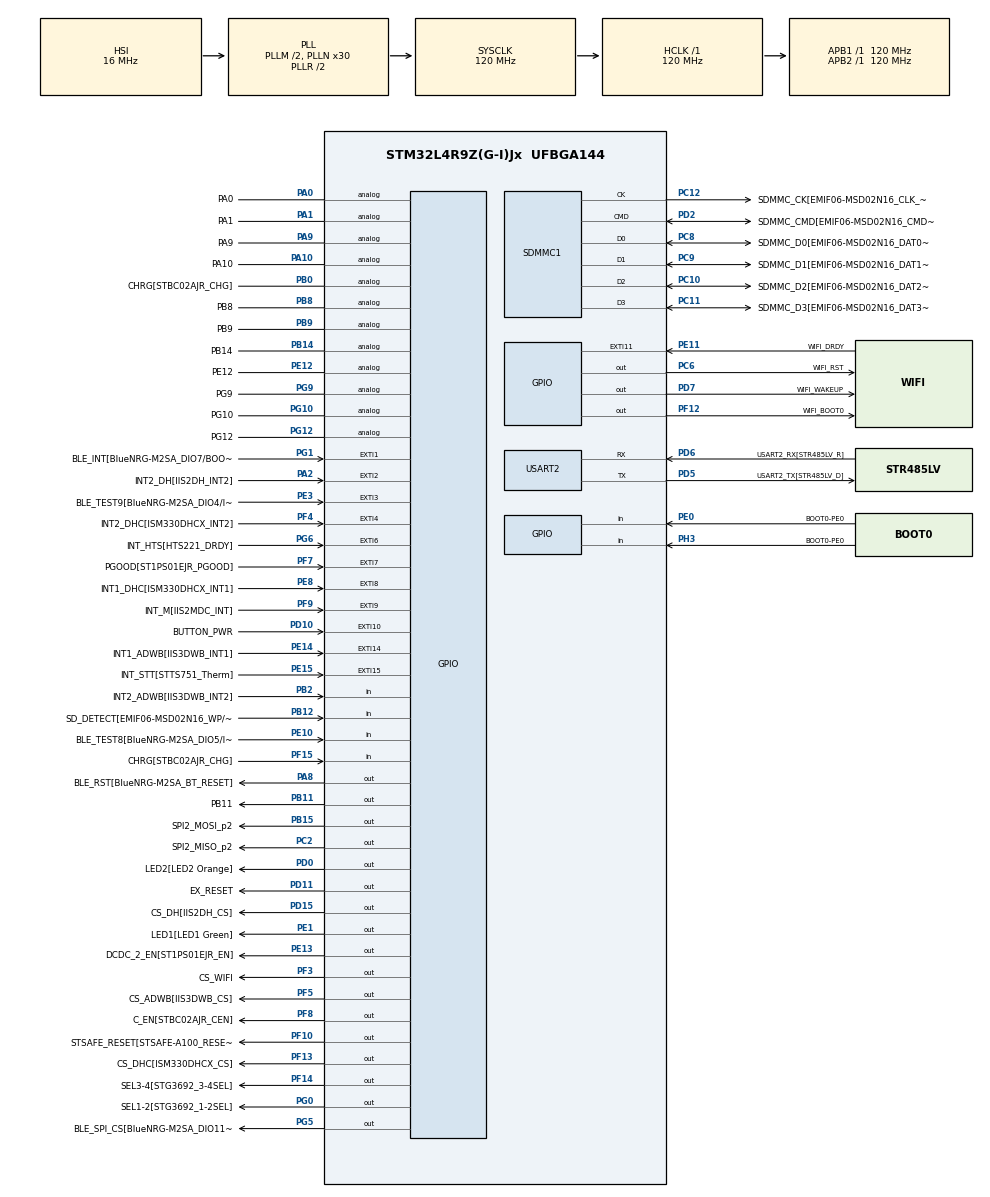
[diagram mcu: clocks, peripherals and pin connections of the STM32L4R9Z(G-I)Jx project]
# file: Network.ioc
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FATFS.BSP.number=1
FATFS0.BSP.STBoard=false
FATFS0.BSP.api=Unknown
FATFS0.BSP.instance=PB12
FATFS0.BSP.ip=GPIO
FATFS0.BSP.mode=Input
FATFS0.BSP.name=Detect_SDIO
FATFS0.BSP.solution=PB12
Mcu.Family=STM32L4
Mcu.Name=STM32L4R9Z(G-I)Jx
Mcu.Package=UFBGA144
NVIC.PriorityGroup=NVIC_PRIORITYGROUP_4
NVIC.SDMMC1_IRQn=true\:0\:0\:false\:false\:true\:true\:true\:true
NVIC.USART2_IRQn=true\:0\:0\:false\:false\:true\:true\:true\:true
PA0.GPIO_Label=PA0
PA0.Signal=GPIO_Analog
PA1.GPIO_Label=PA1
PA1.Signal=GPIO_Analog
PA10.GPIO_Label=PA10
PA10.Signal=GPIO_Analog
PA11.GPIO_Label=OTG_FS_DM[USBLC6-2P6_D2]
PA11.Signal=USB_OTG_FS_DM
PA12.GPIO_Label=OTG_FS_DP[USBLC6-2P6_D1]
PA12.Signal=USB_OTG_FS_DP
PA13\ (JTMS/SWDIO).GPIO_Label=SWDIO
PA13\ (JTMS/SWDIO).Mode=Serial_Wire
PA13\ (JTMS/SWDIO).Signal=SYS_JTMS-SWDIO
PA14\ (JTCK/SWCLK).GPIO_Label=SWDCLK
PA14\ (JTCK/SWCLK).Mode=Serial_Wire
PA14\ (JTCK/SWCLK).Signal=SYS_JTCK-SWCLK
PA15\ (JTDI).GPIO_Label=EX_PWM
PA15\ (JTDI).Signal=S_TIM2_CH1
PA2.GPIO_Label=INT2_DH[IIS2DH_INT2]
PA2.Signal=GPXTI2
PA4.GPIO_Label=DAC1_OUT1
PA4.Signal=COMP_DAC11_group
PA5.GPIO_Label=EX_ADC
PA5.Signal=ADCx_IN10
PA8.GPIO_Label=BLE_RST[BlueNRG-M2SA_BT_RESET]
PA8.Signal=GPIO_Output
PA9.GPIO_Label=PA9
PA9.Signal=GPIO_Analog
PB0.GPIO_Label=CHRG[STBC02AJR_CHG]
PB0.Signal=GPIO_Analog
PB1.GPIO_Label=USART3_RTS[STG3692_3S2]
PB1.Signal=USART3_RTS
PB10.GPIO_Label=DFSDM1_D7
PB10.GPIO_PuPd=GPIO_PULLDOWN
PB10.GPIO_Speed=GPIO_SPEED_FREQ_VERY_HIGH
PB10.Signal=S_DATAIN7DFSDM1
PB11.GPIO_Label=PB11
PB11.Signal=GPIO_Output
PB12.GPIO_Label=SD_DETECT[EMIF06-MSD02N16_WP/CD]
PB12.Signal=GPIO_Input
PB13.GPIO_Label=USART3_CTS
PB13.Signal=USART3_CTS
PB14.GPIO_Label=PB14
PB14.Signal=GPIO_Analog
PB15.GPIO_Label=SPI2_MOSI_p2
PB15.Signal=GPIO_Output
PB2.GPIO_Label=INT2_ADWB[IIS3DWB_INT2]
PB2.Signal=GPIO_Input
PB3\ (JTDO/TRACESWO).GPIO_Label=SPI3_CLK[SENSORS_SCL]
PB3\ (JTDO/TRACESWO).Signal=SPI3_SCK
PB4\ (NJTRST).GPIO_Label=SPI3_MISO[SENSORS_SDO]
PB4\ (NJTRST).Signal=SPI3_MISO
PB5.GPIO_Label=SPI3_MOSI[SENSORS_SDA]
PB5.Signal=SPI3_MOSI
PB6.GPIO_Label=DFSDM1_DATIN5[IMP34DT05_DOUT]
PB6.GPIO_PuPd=GPIO_PULLDOWN
PB6.GPIO_Speed=GPIO_SPEED_FREQ_VERY_HIGH
PB6.Signal=S_DATAIN5DFSDM1
PB8.GPIO_Label=PB8
PB8.Signal=GPIO_Analog
PB9.GPIO_Label=PB9
PB9.Signal=GPIO_Analog
PC0.GPIO_Label=ADC1_IN1[TS922EIJT_OUT2]
PC0.Signal=ADCx_IN1
PC1.GPIO_Label=ADC1_IN2[TS922EIJT_OUT1]
PC1.Signal=ADCx_IN2
PC10.GPIO_Label=SDMMC_D2[EMIF06-MSD02N16_DAT2_In]
PC10.Mode=SD_4_bits_Wide_bus
PC10.Signal=SDMMC1_D2
PC11.GPIO_Label=SDMMC_D3[EMIF06-MSD02N16_DAT3_In]
PC11.Mode=SD_4_bits_Wide_bus
PC11.Signal=SDMMC1_D3
PC12.GPIO_Label=SDMMC_CK[EMIF06-MSD02N16_CLK_In]
PC12.Mode=SD_4_bits_Wide_bus
PC12.Signal=SDMMC1_CK
PC13.GPIO_Label=RTC_TAMP1
PC13.Signal=RTC_TAMP1
PC14-OSC32_IN\ (PC14).GPIO_Label=OSC32_IN
PC14-OSC32_IN\ (PC14).Signal=RCC_OSC32_IN
PC15-OSC32_OUT\ (PC15).GPIO_Label=OSC32_OUT
PC15-OSC32_OUT\ (PC15).Signal=RCC_OSC32_OUT
PC2.GPIO_Label=SPI2_MISO_p2
PC2.Signal=GPIO_Output
PC3.GPIO_Label=SPI2_MOSI[BlueNRG-M2SA_DIO3/SPI_MOSI]
PC3.Signal=SPI2_MOSI
PC4.GPIO_Label=uC_ADC_BATT[STBC02AJR_BATMS]
PC4.Signal=ADCx_IN13
PC5.GPIO_Label=PC5/WKUP5
PC5.Signal=SYS_WKUP5
PC6.GPIO_Label=WIFI_RST
PC6.Signal=GPIO_Output
PC8.GPIO_Label=SDMMC_D0[EMIF06-MSD02N16_DAT0_In]
PC8.Mode=SD_4_bits_Wide_bus
PC8.Signal=SDMMC1_D0
PC9.GPIO_Label=SDMMC_D1[EMIF06-MSD02N16_DAT1_In]
PC9.Mode=SD_4_bits_Wide_bus
PC9.Signal=SDMMC1_D1
PD0.GPIO_Label=LED2[LED2 Orange]
PD0.Signal=GPIO_Output
PD1.GPIO_Label=SPI2_CLK[BlueNRG-M2SA_DIO0/SPI_CLK]
PD1.Signal=SPI2_SCK
PD10.GPIO_Label=BUTTON_PWR
PD10.Signal=GPXTI10
PD11.GPIO_Label=EX_RESET 
PD11.Signal=GPIO_Output
PD12.GPIO_Label=I2C4_SCL
PD12.Signal=I2C4_SCL
PD13.GPIO_Label=I2C4_SDA
PD13.Signal=I2C4_SDA
PD15.GPIO_Label=CS_DH[IIS2DH_CS]
PD15.Signal=GPIO_Output
PD2.GPIO_Label=SDMMC_CMD[EMIF06-MSD02N16_CMD_In]
PD2.Mode=SD_4_bits_Wide_bus
PD2.Signal=SDMMC1_CMD
PD3.GPIO_Label=SPI2_MISO[BlueNRG-M2SA_DIO2/SPI_MISO]
PD3.Signal=SPI2_MISO
PD4.GPIO_Label=USART2_RTS[STR485LV_DE]
PD4.Signal=USART2_RTS
PD5.GPIO_Label=USART2_TX[STR485LV_D]
PD5.Mode=Asynchronous
PD5.Signal=USART2_TX
PD6.GPIO_Label=USART2_RX[STR485LV_R]
PD6.Mode=Asynchronous
PD6.Signal=USART2_RX
PD7.GPIO_Label=WIFI_WAKEUP
PD7.Signal=GPIO_Output
PD8.GPIO_Label=USART3_TX[STG3692_1S1]
PD8.Signal=USART3_TX
PD9.GPIO_Label=USART3_RX[STG3692_2S1]
PD9.Signal=USART3_RX
PE0.GPIO_Label=BOOT0-PE0
PE0.Signal=GPIO_Input
PE1.GPIO_Label=LED1[LED1 Green]
PE1.Signal=GPIO_Output
PE10.GPIO_Label=BLE_TEST8[BlueNRG-M2SA_DIO5/I2C_SDA]
PE10.Signal=GPIO_Input
PE11.GPIO_Label=WIFI_DRDY
PE11.Signal=GPXTI11
PE12.GPIO_Label=PE12
PE12.Signal=GPIO_Analog
PE13.GPIO_Label=DCDC_2_EN[ST1PS01EJR_EN]
PE13.Signal=GPIO_Output
PE14.GPIO_Label=INT1_ADWB[IIS3DWB_INT1]
PE14.Signal=GPXTI14
PE15.GPIO_Label=INT_STT[STTS751_Therm]
PE15.Signal=GPXTI15
PE2.GPIO_Label=SAI1_MCLK_A
PE2.Signal=SAI1_MCLK_A
PE3.GPIO_Label=BLE_TEST9[BlueNRG-M2SA_DIO4/I2C_CLK]
PE3.Signal=GPXTI3
PE4.GPIO_Label=SAI1_FS_A/DFSDM_D3
PE4.Signal=SAI1_FS_A
PE5.GPIO_Label=SAI1_SCK_A
PE5.Signal=SAI1_SCK_A
PE6.GPIO_Label=SAI1_SD_A
PE6.Signal=SAI1_SD_A
PE7.GPIO_Label=SAI1_SD_B
PE7.Signal=SAI1_SD_B
PE8.GPIO_Label=INT1_DHC[ISM330DHCX_INT1]
PE8.Signal=GPXTI8
PE9.GPIO_Label=DFSDM1_CKOUT[IMP34DT05_CLK]
PE9.GPIO_PuPd=GPIO_PULLDOWN
PE9.GPIO_Speed=GPIO_SPEED_FREQ_VERY_HIGH
PE9.Signal=S_CKOUTDFSDM1
PF0.GPIO_Label=I2C2_SDA[SENSORS_SDA]
PF0.Signal=I2C2_SDA
PF1.GPIO_Label=I2C2_SDA[SENSORS_SCL]
PF1.Signal=I2C2_SCL
PF10.GPIO_Label=STSAFE_RESET[STSAFE-A100_RESET]
PF10.Signal=GPIO_Output
PF12.GPIO_Label=WIFI_BOOT0
PF12.Signal=GPIO_Output
PF13.GPIO_Label=CS_DHC[ISM330DHCX_CS]
PF13.Signal=GPIO_Output
PF14.GPIO_Label=SEL3-4[STG3692_3-4SEL]
PF14.Signal=GPIO_Output
PF15.GPIO_Label=CHRG[STBC02AJR_CHG]
PF15.Signal=GPIO_Input
PF2.GPIO_Label=I2C2_SMBA[STTS751_EV]
PF2.Signal=I2C2_SMBA
PF3.GPIO_Label=CS_WIFI
PF3.Signal=GPIO_Output
PF4.GPIO_Label=INT2_DHC[ISM330DHCX_INT2]
PF4.Signal=GPXTI4
PF5.GPIO_Label=CS_ADWB[IIS3DWB_CS]
PF5.Signal=GPIO_Output
PF6.GPIO_Label=SW_SEL[STBC02AJR_SW_SEL]
PF6.GPIO_Speed=GPIO_SPEED_FREQ_HIGH
PF6.Signal=S_TIM5_CH1
PF7.GPIO_Label=PGOOD[ST1PS01EJR_PGOOD]
PF7.Signal=GPXTI7
PF8.GPIO_Label=C_EN[STBC02AJR_CEN]
PF8.Signal=GPIO_Output
PF9.GPIO_Label=INT_M[IIS2MDC_INT]
PF9.Signal=GPXTI9
PG0.GPIO_Label=SEL1-2[STG3692_1-2SEL]
PG0.Signal=GPIO_Output
PG1.GPIO_Label=BLE_INT[BlueNRG-M2SA_DIO7/BOOT/UART_CTS]
PG1.Signal=GPXTI1
PG10.GPIO_Label=PG10
PG10.Signal=GPIO_Analog
PG12.GPIO_Label=PG12
PG12.Signal=GPIO_Analog
PG2.GPIO_Label=SPI1_CLK
PG2.Signal=SPI1_SCK
PG3.GPIO_Label=SPI1_MISO
PG3.Signal=SPI1_MISO
PG4.GPIO_Label=SPI1_MOSI
PG4.Signal=SPI1_MOSI
PG5.GPIO_Label=BLE_SPI_CS[BlueNRG-M2SA_DIO11/UART_RXD]
PG5.Signal=GPIO_Output
PG6.GPIO_Label=INT_HTS[HTS221_DRDY]
PG6.Signal=GPXTI6
PG7.GPIO_Label=I2C3_SCL[STSAFE-A110_SCL]
PG7.Signal=I2C3_SCL
PG8.GPIO_Label=I2C3_SDA[STSAFE-A110_SDA]
PG8.Signal=I2C3_SDA
PG9.GPIO_Label=PG9
PG9.Signal=GPIO_Analog
PH0-OSC_IN\ (PH0).GPIO_Label=OSC_IN
PH0-OSC_IN\ (PH0).Mode=HSE-External-Oscillator
PH0-OSC_IN\ (PH0).Signal=RCC_OSC_IN
PH1-OSC_OUT\ (PH1).GPIO_Label=OSC_OUT
PH1-OSC_OUT\ (PH1).Mode=HSE-External-Oscillator
PH1-OSC_OUT\ (PH1).Signal=RCC_OSC_OUT
PH3-BOOT0.GPIO_Label=BOOT0-PE0
PH3-BOOT0.Signal=GPIO_Input
ProjectManager.HeapSize=0x800
ProjectManager.StackSize=0x800
ProjectManager.TargetToolchain=STM32CubeIDE
RCC.ADCFreq_Value=76800000
RCC.AHBFreq_Value=120000000
RCC.APB1Freq_Value=120000000
RCC.APB1TimFreq_Value=120000000
RCC.APB2Freq_Value=120000000
RCC.APB2TimFreq_Value=120000000
RCC.CK48CLockSelection=RCC_USBCLKSOURCE_HSI48
RCC.CortexFreq_Value=120000000
RCC.DSITX_Div=1
RCC.HCLKFreq_Value=120000000
RCC.HSE_VALUE=16000000
RCC.HSI48_VALUE=48000000
RCC.HSI_VALUE=16000000
RCC.LSE_VALUE=32768
RCC.MSI_VALUE=4000000
RCC.PLLDSIODF=DSI_PLL_OUT_DIV2
RCC.PLLM1=2
RCC.PLLM2=5
RCC.PLLM3=2
RCC.PLLN=30
RCC.PLLSAI1N=96
RCC.PLLSAI1P=RCC_PLLP_DIV25
RCC.PLLSAI1Q=RCC_PLLQ_DIV4
RCC.PLLSAI1R=RCC_PLLR_DIV4
RCC.PLLSourceVirtual=RCC_PLLSOURCE_HSI
RCC.RTCClockSelection=RCC_RTCCLKSOURCE_LSE
RCC.SDMMCClockSelection=RCC_SDIOCLKSOURCE_CLK48
RCC.SYSCLKFreq_VALUE=120000000
RCC.SYSCLKSource=RCC_SYSCLKSOURCE_PLLCLK
RCC.USBFreq_Value=48000000
RCC.VCOOutputFreq_Value=240000000
SH.ADCx_IN1.0=ADC1_IN1
SH.ADCx_IN10.0=ADC1_IN10
SH.ADCx_IN13.0=ADC1_IN13
SH.ADCx_IN2.0=ADC1_IN2
SH.COMP_DAC11_group.0=DAC1_OUT1
SH.S_CKOUTDFSDM1.0=DFSDM1_CKOUT
SH.S_DATAIN5DFSDM1.0=DFSDM1_DATIN5
SH.S_DATAIN7DFSDM1.0=DFSDM1_DATIN7
SH.S_TIM2_CH1.0=TIM2_CH1
SH.S_TIM5_CH1.0=TIM5_CH1
STMicroelectronics.X-CUBE-AI.10.0.0.ActivationBufferSizeList=2324
STMicroelectronics.X-CUBE-AI.10.0.0.ActivationBuffers=pool0
STMicroelectronics.X-CUBE-AI.10.0.0.ActivationNames=pool0
STMicroelectronics.X-CUBE-AI.10.0.0.ActivationSizes=AI_NETWORK_DATA_ACTIVATION_1_SIZE
STMicroelectronics.X-CUBE-AI.10.0.0.HeapSize=0x800
STMicroelectronics.X-CUBE-AI.10.0.0.InternalRamActivationBufferMaxSize=AI_NETWORK_DATA_ACTIVATIONS_SIZE
STMicroelectronics.X-CUBE-AI.10.0.0.LatestDirectoryUsed-07491b061f2f6b5cf205d76758b68900ebc381ad5fb858a478a9d888b9210f91=C\:\\Users\\enric\\OneDrive\\Desktop\\reti_neurali
STMicroelectronics.X-CUBE-AI.10.0.0.MaximumNumberOfInputLayer=1
STMicroelectronics.X-CUBE-AI.10.0.0.MaximumNumberOfOutputLayer=1
STMicroelectronics.X-CUBE-AI.10.0.0.MaximumSizeOfInputLayer=1
STMicroelectronics.X-CUBE-AI.10.0.0.MaximumSizeOfOutputLayer=1
STMicroelectronics.X-CUBE-AI.10.0.0.ModelActualCompression-07491b061f2f6b5cf205d76758b68900ebc381ad5fb858a478a9d888b9210f91=0.0
STMicroelectronics.X-CUBE-AI.10.0.0.ModelCompression-07491b061f2f6b5cf205d76758b68900ebc381ad5fb858a478a9d888b9210f91=None
STMicroelectronics.X-CUBE-AI.10.0.0.ModelFlashOccupation-07491b061f2f6b5cf205d76758b68900ebc381ad5fb858a478a9d888b9210f91=27286
STMicroelectronics.X-CUBE-AI.10.0.0.ModelHashList=07491b061f2f6b5cf205d76758b68900ebc381ad5fb858a478a9d888b9210f91
STMicroelectronics.X-CUBE-AI.10.0.0.ModelKind-07491b061f2f6b5cf205d76758b68900ebc381ad5fb858a478a9d888b9210f91=ONNX
STMicroelectronics.X-CUBE-AI.10.0.0.ModelMacc-07491b061f2f6b5cf205d76758b68900ebc381ad5fb858a478a9d888b9210f91=4738
STMicroelectronics.X-CUBE-AI.10.0.0.ModelName-07491b061f2f6b5cf205d76758b68900ebc381ad5fb858a478a9d888b9210f91=network
STMicroelectronics.X-CUBE-AI.10.0.0.ModelNameList=network
STMicroelectronics.X-CUBE-AI.10.0.0.ModelRamOccupation-07491b061f2f6b5cf205d76758b68900ebc381ad5fb858a478a9d888b9210f91=2324
STMicroelectronics.X-CUBE-AI.10.0.0.ModelStructureFile-07491b061f2f6b5cf205d76758b68900ebc381ad5fb858a478a9d888b9210f91=C\:\\Users\\enric\\OneDrive\\Desktop\\reti_neurali\\my_model_MLP.onnx
STMicroelectronics.X-CUBE-AI.10.0.0.ModelType-07491b061f2f6b5cf205d76758b68900ebc381ad5fb858a478a9d888b9210f91=STM32Cube.AI MCU runtime
STMicroelectronics.X-CUBE-AI.10.0.0.ReadyForCodeGeneration=true
STMicroelectronics.X-CUBE-AI.10.0.0.StackSize=0x800
STMicroelectronics.X-CUBE-AI.10.0.0.ValidationInputFile-07491b061f2f6b5cf205d76758b68900ebc381ad5fb858a478a9d888b9210f91=C\:\\Users\\enric\\OneDrive\\Desktop\\Validation\\validation_input.csv
STMicroelectronics.X-CUBE-AI.10.0.0.ValidationInputFileHistory-07491b061f2f6b5cf205d76758b68900ebc381ad5fb858a478a9d888b9210f91=C\:\\Users\\enric\\OneDrive\\Desktop\\Validation\\validation_input.csv
STMicroelectronics.X-CUBE-AI.10.0.0.ValidationOutputFile-07491b061f2f6b5cf205d76758b68900ebc381ad5fb858a478a9d888b9210f91=C\:\\Users\\enric\\OneDrive\\Desktop\\Validation\\validation_output.csv
STMicroelectronics.X-CUBE-AI.10.0.0.ValidationOutputFileHistory-07491b061f2f6b5cf205d76758b68900ebc381ad5fb858a478a9d888b9210f91=C\:\\Users\\enric\\OneDrive\\Desktop\\Validation\\validation_output.csv
STMicroelectronics.X-CUBE-AI.10.0.0.WorkingBufferStartAddrList=0xFFFFFFFF
STMicroelectronics.X-CUBE-AI.10.0.0.XAaCUBEAaAICcArtificialOoIntelligenceJjCore=true
STMicroelectronics.X-CUBE-AI.10.0.0.copyWeightToRam=false
STMicroelectronics.X-CUBE-AI.10.0.0.copyWeightToRam-07491b061f2f6b5cf205d76758b68900ebc381ad5fb858a478a9d888b9210f91=false
STMicroelectronics.X-CUBE-AI.10.0.0.customLayerConfigEnabled=false
STMicroelectronics.X-CUBE-AI.10.0.0.customLayerConfigEnabled-07491b061f2f6b5cf205d76758b68900ebc381ad5fb858a478a9d888b9210f91=false
STMicroelectronics.X-CUBE-AI.10.0.0.noOnnxIoTranspose=false
STMicroelectronics.X-CUBE-AI.10.0.0.noOnnxIoTranspose-07491b061f2f6b5cf205d76758b68900ebc381ad5fb858a478a9d888b9210f91=false
STMicroelectronics.X-CUBE-AI.10.0.0.useInputAllocation=true
STMicroelectronics.X-CUBE-AI.10.0.0.useInputAllocation-07491b061f2f6b5cf205d76758b68900ebc381ad5fb858a478a9d888b9210f91=true
STMicroelectronics.X-CUBE-AI.10.0.0.useOutputAllocation=true
STMicroelectronics.X-CUBE-AI.10.0.0.useOutputAllocation-07491b061f2f6b5cf205d76758b68900ebc381ad5fb858a478a9d888b9210f91=true
TIM1.Prescaler=120
USART2.VirtualMode-Asynchronous=VM_ASYNC
VP_CRC_VS_CRC.Mode=CRC_Activate
VP_FATFS_VS_SDIO.Mode=SDIO
VP_STMicroelectronics.X-CUBE-AI_VS_ArtificialOoIntelligenceJjXAaCUBEAaAI_10.0.0.Mode=ArtificialOoIntelligenceJjXAaCUBEAaAI
VP_TIM1_VS_ClockSourceINT.Mode=Internal
board=STEVAL-STWINKT1B

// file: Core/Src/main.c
/* USER CODE BEGIN Header */
/**
  ******************************************************************************
  * @file           : main.c
  * @brief          : Main program body
  ******************************************************************************
  * @attention
  *
  * Copyright (c) 2025 STMicroelectronics.
  * All rights reserved.
  *
  * This software is licensed under terms that can be found in the LICENSE file
  * in the root directory of this software component.
  * If no LICENSE file comes with this software, it is provided AS-IS.
  *
  ******************************************************************************
  */
/* USER CODE END Header */
#include "main.h"
#include "fatfs.h"

/* USER CODE BEGIN Includes */

#include "network.h"
#include "network_data.h"
#include "ai_platform.h"
#include <stdio.h>
#include <stdint.h>
#include <stdlib.h>
#include <inttypes.h>
#include <string.h>
#include <math.h>

/* USER CODE END Includes */

/* USER CODE BEGIN PD */

#define F_OUT "output.bin" //file in cui vengono salvati gli output della rete
#define F_REPORT "report.txt" //file per riportare i tempi di inferenza
#define F_INPUT "input.bin" //file contenente il vettore di input

typedef ai_float IN_TYPE;

/* USER CODE END PD */

CRC_HandleTypeDef hcrc;

SD_HandleTypeDef hsd1;

TIM_HandleTypeDef htim1;

UART_HandleTypeDef huart2;

/* USER CODE BEGIN PV */

// utilizzo struttura FIL di FATFS per gestire i file
FIL file_out;
FIL file_in;
FIL f_report;
char buffer[80];

/* USER CODE END PV */

void SystemClock_Config(void);
static void MX_GPIO_Init(void);
static void MX_CRC_Init(void);
static void MX_SDMMC1_SD_Init(void);
static void MX_TIM1_Init(void);
static void MX_USART2_UART_Init(void);
/* USER CODE BEGIN PFP */

int ai_run(const void*, void*);
int ai_init(void);
int network_run(IN_TYPE* in_data, IN_TYPE* out_data, IN_TYPE* ingresso); //chiama f. inferenze e gestisce output
void set_input_data(IN_TYPE* in_data, int k, IN_TYPE* ingresso); //per riempire ingressi rete
int process_output(IN_TYPE* out_data);
FRESULT read_from_sd(long int, ai_float*, int);
void write_to_sd(int);
void write_report(char*, int);

/* USER CODE END PFP */

/* USER CODE BEGIN 0 */

//inizializzazione istanza della rete neurale
static ai_handle network = AI_HANDLE_NULL;

/* Array per gestire il buffer delle attivazioni */
AI_ALIGNED(32)
static ai_u8 activations[AI_NETWORK_DATA_ACTIVATIONS_SIZE];

/* Array per gestire il tensore di input */
AI_ALIGNED(32)
static IN_TYPE in_data[AI_NETWORK_IN_1_SIZE];

/* Array per gestire il tensore di output */
AI_ALIGNED(32)
static IN_TYPE out_data[AI_NETWORK_OUT_1_SIZE];

/*Array di puntatori per gestire i tensori di input/output */
static ai_buffer *ai_input;
static ai_buffer *ai_output;

/* USER CODE END 0 */

int main(void)
{

  /* MCU Configuration--------------------------------------------------------*/

  /* Reset of all peripherals, Initializes the Flash interface and the Systick. */
  HAL_Init();

  /* Configure the system clock */
  SystemClock_Config();

  /* Initialize all configured peripherals */
  MX_GPIO_Init();
  MX_CRC_Init();
  MX_SDMMC1_SD_Init();
  MX_TIM1_Init();
  MX_USART2_UART_Init();
  MX_FATFS_Init();
  /* USER CODE BEGIN 2 */

  //creo un instanza della rete  e degli opportuni buffer per ingressi e uscite
  if (ai_init() != 0)
     	  {
     		  Error_Handler();
     	  }
  FRESULT res = FR_OK;

  //monto la scheda SD
  res = f_mount(&SDFatFS, (TCHAR const*)SDPath, 0);
      if(res != FR_OK)
      {
       	  	   	Error_Handler();
      }

   strcpy (buffer, "Rete neurale: ");
   write_report (buffer, strlen(buffer));

   int string_len = strlen(AI_NETWORK_ORIGIN_MODEL_NAME);
   write_report(AI_NETWORK_ORIGIN_MODEL_NAME, string_len);

   res = f_open(&file_in, F_INPUT, FA_READ);
   if(res != FR_OK)
   {
   Error_Handler();
   }
   //salvo la dimensione dell'intero file di input
   long int file_length = f_size(&file_in);
   res = f_close(&file_in);
   if(res != FR_OK)
   {
   Error_Handler();
   }

   //calcolo il numero di valori (float32) contenuti nel file di input
   long int n_valori = file_length / sizeof(ai_float);

   //dimensione di ogni blocco in cui suddivido il file input da leggere
   long int size_blocco = 10000;

   //numero di blocchi in cui suddivido il file input
   int b_max = n_valori / size_blocco;
   int blocco_attuale = 0;

   ai_float* ingresso;

   strcpy (buffer, "\nCalcolo tempi per ogni inferenza:\n");
   string_len = strlen(buffer);
   write_report(buffer, string_len);

   while(blocco_attuale < b_max)
   {
	   //vado ad allocare lo spazio per un blocco, sul quale farò le inferenze
	   ingresso = malloc(sizeof(ai_float) * size_blocco);

	   //il blocco di valori è letto dal file di input nella scheda SD
	   //mi posiziono nel punto opportuno definito da blocco_attuale
	   res = read_from_sd(size_blocco, ingresso, blocco_attuale);
	    	  if(res != FR_OK)
	    	  {
	       	    	  Error_Handler();
	    	  }

	   //ciclo su tutto il blocco corrente
	   //attenzione: bisogna passare alla rete 4 valori alla volta
	   //senza sovrapposizioni e senza perdere dati

	   int k = 0; //indice del valore letto
	   while (k < size_blocco)
	   {

		   set_input_data(in_data, k, ingresso);

		   if (network_run(in_data, out_data, ingresso) != 0)
		    			  Error_Handler();

		   //scorro al prossimo array di ingresso per la rete
		   k = k + AI_NETWORK_IN_1_SIZE;

	   }

	   free(ingresso); //libero lo spazio di memoria allocato per questo blocco terminato
	   blocco_attuale++; //passo al blocco successivo

   }

   //se sono arrivato all'ultimo blocco, che contiene meno valori della dimensione predefinita
   //oppure l'intero file di input è più piccolo della dimensione predefinita
   if(((blocco_attuale) == b_max)||(b_max == 0))
   {
	   n_valori = n_valori - (b_max * size_blocco);
	   ingresso = malloc(sizeof(ai_float)* n_valori);
	   res = read_from_sd(n_valori, ingresso, blocco_attuale);
	   if(res != FR_OK)
	   	  {
	   		  Error_Handler();
	   	  }
	   int k = 0; //indice del valore di partenza dell'array letto
	   while (k < size_blocco)
	   {
	   		if (network_run(in_data, out_data, ingresso) != 0)
	   		    			  Error_Handler();

	   		//scorro al prossimo array di ingresso per la rete
	   		k = k + AI_NETWORK_IN_1_SIZE;
       }

	   free(ingresso);

   }

   strcpy (buffer,"\nFine\n");
   string_len = strlen(buffer);
   write_report(buffer, string_len);

   f_mount(&SDFatFS, (TCHAR const*)NULL, 0);

  /* USER CODE END 2 */

  /* Infinite loop */
  while (1)
  {

  }
}

void SystemClock_Config(void)
{
  RCC_OscInitTypeDef RCC_OscInitStruct = {0};
  RCC_ClkInitTypeDef RCC_ClkInitStruct = {0};

  /** Configure the main internal regulator output voltage
  */
  if (HAL_PWREx_ControlVoltageScaling(PWR_REGULATOR_VOLTAGE_SCALE1_BOOST) != HAL_OK)
  {
    Error_Handler();
  }

  /** Initializes the RCC Oscillators according to the specified parameters
  * in the RCC_OscInitTypeDef structure.
  */
  RCC_OscInitStruct.OscillatorType = RCC_OSCILLATORTYPE_HSI48|RCC_OSCILLATORTYPE_HSI;
  RCC_OscInitStruct.HSIState = RCC_HSI_ON;
  RCC_OscInitStruct.HSI48State = RCC_HSI48_ON;
  RCC_OscInitStruct.HSICalibrationValue = RCC_HSICALIBRATION_DEFAULT;
  RCC_OscInitStruct.PLL.PLLState = RCC_PLL_ON;
  RCC_OscInitStruct.PLL.PLLSource = RCC_PLLSOURCE_HSI;
  RCC_OscInitStruct.PLL.PLLM = 2;
  RCC_OscInitStruct.PLL.PLLN = 30;
  RCC_OscInitStruct.PLL.PLLP = RCC_PLLP_DIV2;
  RCC_OscInitStruct.PLL.PLLQ = RCC_PLLQ_DIV2;
  RCC_OscInitStruct.PLL.PLLR = RCC_PLLR_DIV2;
  if (HAL_RCC_OscConfig(&RCC_OscInitStruct) != HAL_OK)
  {
    Error_Handler();
  }

  /** Initializes the CPU, AHB and APB buses clocks
  */
  RCC_ClkInitStruct.ClockType = RCC_CLOCKTYPE_HCLK|RCC_CLOCKTYPE_SYSCLK
                              |RCC_CLOCKTYPE_PCLK1|RCC_CLOCKTYPE_PCLK2;
  RCC_ClkInitStruct.SYSCLKSource = RCC_SYSCLKSOURCE_PLLCLK;
  RCC_ClkInitStruct.AHBCLKDivider = RCC_SYSCLK_DIV1;
  RCC_ClkInitStruct.APB1CLKDivider = RCC_HCLK_DIV1;
  RCC_ClkInitStruct.APB2CLKDivider = RCC_HCLK_DIV1;

  if (HAL_RCC_ClockConfig(&RCC_ClkInitStruct, FLASH_LATENCY_5) != HAL_OK)
  {
    Error_Handler();
  }
}

static void MX_CRC_Init(void)
{

  hcrc.Instance = CRC;
  hcrc.Init.DefaultPolynomialUse = DEFAULT_POLYNOMIAL_ENABLE;
  hcrc.Init.DefaultInitValueUse = DEFAULT_INIT_VALUE_ENABLE;
  hcrc.Init.InputDataInversionMode = CRC_INPUTDATA_INVERSION_NONE;
  hcrc.Init.OutputDataInversionMode = CRC_OUTPUTDATA_INVERSION_DISABLE;
  hcrc.InputDataFormat = CRC_INPUTDATA_FORMAT_BYTES;
  if (HAL_CRC_Init(&hcrc) != HAL_OK)
  {
    Error_Handler();
  }

}

static void MX_SDMMC1_SD_Init(void)
{

  hsd1.Instance = SDMMC1;
  hsd1.Init.ClockEdge = SDMMC_CLOCK_EDGE_RISING;
  hsd1.Init.ClockPowerSave = SDMMC_CLOCK_POWER_SAVE_DISABLE;
  hsd1.Init.BusWide = SDMMC_BUS_WIDE_4B;
  hsd1.Init.HardwareFlowControl = SDMMC_HARDWARE_FLOW_CONTROL_DISABLE;
  hsd1.Init.ClockDiv = 0;
  hsd1.Init.Transceiver = SDMMC_TRANSCEIVER_DISABLE;

}

static void MX_TIM1_Init(void)
{

  TIM_ClockConfigTypeDef sClockSourceConfig = {0};
  TIM_MasterConfigTypeDef sMasterConfig = {0};

  htim1.Instance = TIM1;
  htim1.Init.Prescaler = 120;
  htim1.Init.CounterMode = TIM_COUNTERMODE_UP;
  htim1.Init.Period = 65535;
  htim1.Init.ClockDivision = TIM_CLOCKDIVISION_DIV1;
  htim1.Init.RepetitionCounter = 0;
  htim1.Init.AutoReloadPreload = TIM_AUTORELOAD_PRELOAD_DISABLE;
  if (HAL_TIM_Base_Init(&htim1) != HAL_OK)
  {
    Error_Handler();
  }
  sClockSourceConfig.ClockSource = TIM_CLOCKSOURCE_INTERNAL;
  if (HAL_TIM_ConfigClockSource(&htim1, &sClockSourceConfig) != HAL_OK)
  {
    Error_Handler();
  }
  sMasterConfig.MasterOutputTrigger = TIM_TRGO_RESET;
  sMasterConfig.MasterOutputTrigger2 = TIM_TRGO2_RESET;
  sMasterConfig.MasterSlaveMode = TIM_MASTERSLAVEMODE_DISABLE;
  if (HAL_TIMEx_MasterConfigSynchronization(&htim1, &sMasterConfig) != HAL_OK)
  {
    Error_Handler();
  }

}

static void MX_USART2_UART_Init(void)
{

  huart2.Instance = USART2;
  huart2.Init.BaudRate = 115200;
  huart2.Init.WordLength = UART_WORDLENGTH_8B;
  huart2.Init.StopBits = UART_STOPBITS_1;
  huart2.Init.Parity = UART_PARITY_NONE;
  huart2.Init.Mode = UART_MODE_TX_RX;
  huart2.Init.HwFlowCtl = UART_HWCONTROL_NONE;
  huart2.Init.OverSampling = UART_OVERSAMPLING_16;
  huart2.Init.OneBitSampling = UART_ONE_BIT_SAMPLE_DISABLE;
  huart2.Init.ClockPrescaler = UART_PRESCALER_DIV1;
  huart2.AdvancedInit.AdvFeatureInit = UART_ADVFEATURE_NO_INIT;
  if (HAL_UART_Init(&huart2) != HAL_OK)
  {
    Error_Handler();
  }
  if (HAL_UARTEx_SetTxFifoThreshold(&huart2, UART_TXFIFO_THRESHOLD_1_8) != HAL_OK)
  {
    Error_Handler();
  }
  if (HAL_UARTEx_SetRxFifoThreshold(&huart2, UART_RXFIFO_THRESHOLD_1_8) != HAL_OK)
  {
    Error_Handler();
  }
  if (HAL_UARTEx_DisableFifoMode(&huart2) != HAL_OK)
  {
    Error_Handler();
  }

}

static void MX_GPIO_Init(void)
{
  GPIO_InitTypeDef GPIO_InitStruct = {0};

  /* GPIO Ports Clock Enable */
  __HAL_RCC_GPIOE_CLK_ENABLE();
  __HAL_RCC_GPIOB_CLK_ENABLE();
  __HAL_RCC_GPIOH_CLK_ENABLE();
  __HAL_RCC_GPIOD_CLK_ENABLE();
  __HAL_RCC_GPIOC_CLK_ENABLE();
  __HAL_RCC_GPIOA_CLK_ENABLE();
  __HAL_RCC_GPIOG_CLK_ENABLE();
  HAL_PWREx_EnableVddIO2();
  __HAL_RCC_GPIOF_CLK_ENABLE();

  /*Configure GPIO pin Output Level */
  HAL_GPIO_WritePin(GPIOE, LED1_Pin|DCDC_2_EN_Pin, GPIO_PIN_RESET);

  /*Configure GPIO pin Output Level */
  HAL_GPIO_WritePin(GPIOD, LED2_Pin|WIFI_WAKEUP_Pin|CS_DH_Pin|EX_RESET_Pin, GPIO_PIN_RESET);

  /*Configure GPIO pin Output Level */
  HAL_GPIO_WritePin(BLE_RST_GPIO_Port, BLE_RST_Pin, GPIO_PIN_RESET);

  /*Configure GPIO pin Output Level */
  HAL_GPIO_WritePin(GPIOC, WIFI_RST_Pin|SPI2_MISO_p2_Pin, GPIO_PIN_RESET);

  /*Configure GPIO pin Output Level */
  HAL_GPIO_WritePin(GPIOF, CS_WIFI_Pin|C_EN_Pin|CS_ADWB_Pin|STSAFE_RESET_Pin
                          |WIFI_BOOT0_Pin|CS_DHC_Pin|SEL3_4_Pin, GPIO_PIN_RESET);

  /*Configure GPIO pin Output Level */
  HAL_GPIO_WritePin(GPIOG, BLE_SPI_CS_Pin|SEL1_2_Pin, GPIO_PIN_RESET);

  /*Configure GPIO pin Output Level */
  HAL_GPIO_WritePin(GPIOB, SPI2_MOSI_p2_Pin|PB11_Pin, GPIO_PIN_RESET);

  /*Configure GPIO pins : BOOT0_PE0_Pin BLE_TEST8_Pin */
  GPIO_InitStruct.Pin = BOOT0_PE0_Pin|BLE_TEST8_Pin;
  GPIO_InitStruct.Mode = GPIO_MODE_INPUT;
  GPIO_InitStruct.Pull = GPIO_NOPULL;
  HAL_GPIO_Init(GPIOE, &GPIO_InitStruct);

  /*Configure GPIO pins : PB9_Pin PB8_Pin PB14_Pin CHRGB0_Pin */
  GPIO_InitStruct.Pin = PB9_Pin|PB8_Pin|PB14_Pin|CHRGB0_Pin;
  GPIO_InitStruct.Mode = GPIO_MODE_ANALOG;
  GPIO_InitStruct.Pull = GPIO_NOPULL;
  HAL_GPIO_Init(GPIOB, &GPIO_InitStruct);

  /*Configure GPIO pin : BOOT0_PE0H3_Pin */
  GPIO_InitStruct.Pin = BOOT0_PE0H3_Pin;
  GPIO_InitStruct.Mode = GPIO_MODE_INPUT;
  GPIO_InitStruct.Pull = GPIO_NOPULL;
  HAL_GPIO_Init(BOOT0_PE0H3_GPIO_Port, &GPIO_InitStruct);

  /*Configure GPIO pins : SPI3_MISO_Pin SPI3_MOSI_Pin SPI3_CLK_Pin */
  GPIO_InitStruct.Pin = SPI3_MISO_Pin|SPI3_MOSI_Pin|SPI3_CLK_Pin;
  GPIO_InitStruct.Mode = GPIO_MODE_AF_PP;
  GPIO_InitStruct.Pull = GPIO_NOPULL;
  GPIO_InitStruct.Speed = GPIO_SPEED_FREQ_VERY_HIGH;
  GPIO_InitStruct.Alternate = GPIO_AF6_SPI3;
  HAL_GPIO_Init(GPIOB, &GPIO_InitStruct);

  /*Configure GPIO pins : SPI2_MISO_Pin SPI2_CLK_Pin */
  GPIO_InitStruct.Pin = SPI2_MISO_Pin|SPI2_CLK_Pin;
  GPIO_InitStruct.Mode = GPIO_MODE_AF_PP;
  GPIO_InitStruct.Pull = GPIO_NOPULL;
  GPIO_InitStruct.Speed = GPIO_SPEED_FREQ_VERY_HIGH;
  GPIO_InitStruct.Alternate = GPIO_AF5_SPI2;
  HAL_GPIO_Init(GPIOD, &GPIO_InitStruct);

  /*Configure GPIO pins : BLE_TEST9_Pin WIFI_DRDY_Pin INT1_DHC_Pin INT_STT_Pin
                           INT1_ADWB_Pin */
  GPIO_InitStruct.Pin = BLE_TEST9_Pin|WIFI_DRDY_Pin|INT1_DHC_Pin|INT_STT_Pin
                          |INT1_ADWB_Pin;
  GPIO_InitStruct.Mode = GPIO_MODE_IT_RISING;
  GPIO_InitStruct.Pull = GPIO_NOPULL;
  HAL_GPIO_Init(GPIOE, &GPIO_InitStruct);

  /*Configure GPIO pin : EX_PWM_Pin */
  GPIO_InitStruct.Pin = EX_PWM_Pin;
  GPIO_InitStruct.Mode = GPIO_MODE_AF_PP;
  GPIO_InitStruct.Pull = GPIO_NOPULL;
  GPIO_InitStruct.Speed = GPIO_SPEED_FREQ_LOW;
  GPIO_InitStruct.Alternate = GPIO_AF1_TIM2;
  HAL_GPIO_Init(EX_PWM_GPIO_Port, &GPIO_InitStruct);

  /*Configure GPIO pins : OTG_FS_DP_Pin OTG_FS_DM_Pin */
  GPIO_InitStruct.Pin = OTG_FS_DP_Pin|OTG_FS_DM_Pin;
  GPIO_InitStruct.Mode = GPIO_MODE_AF_PP;
  GPIO_InitStruct.Pull = GPIO_NOPULL;
  GPIO_InitStruct.Speed = GPIO_SPEED_FREQ_VERY_HIGH;
  GPIO_InitStruct.Alternate = GPIO_AF10_OTG_FS;
  HAL_GPIO_Init(GPIOA, &GPIO_InitStruct);

  /*Configure GPIO pins : SAI1_SCK_A_Pin SAI1_MCLK_A_Pin SAI1_FS_A_DFSDM_D3_Pin SAI1_SD_A_Pin
                           SAI1_SD_B_Pin */
  GPIO_InitStruct.Pin = SAI1_SCK_A_Pin|SAI1_MCLK_A_Pin|SAI1_FS_A_DFSDM_D3_Pin|SAI1_SD_A_Pin
                          |SAI1_SD_B_Pin;
  GPIO_InitStruct.Mode = GPIO_MODE_AF_PP;
  GPIO_InitStruct.Pull = GPIO_NOPULL;
  GPIO_InitStruct.Speed = GPIO_SPEED_FREQ_LOW;
  GPIO_InitStruct.Alternate = GPIO_AF13_SAI1;
  HAL_GPIO_Init(GPIOE, &GPIO_InitStruct);

  /*Configure GPIO pins : LED1_Pin DCDC_2_EN_Pin */
  GPIO_InitStruct.Pin = LED1_Pin|DCDC_2_EN_Pin;
  GPIO_InitStruct.Mode = GPIO_MODE_OUTPUT_PP;
  GPIO_InitStruct.Pull = GPIO_NOPULL;
  GPIO_InitStruct.Speed = GPIO_SPEED_FREQ_LOW;
  HAL_GPIO_Init(GPIOE, &GPIO_InitStruct);

  /*Configure GPIO pins : LED2_Pin WIFI_WAKEUP_Pin CS_DH_Pin EX_RESET_Pin */
  GPIO_InitStruct.Pin = LED2_Pin|WIFI_WAKEUP_Pin|CS_DH_Pin|EX_RESET_Pin;
  GPIO_InitStruct.Mode = GPIO_MODE_OUTPUT_PP;
  GPIO_InitStruct.Pull = GPIO_NOPULL;
  GPIO_InitStruct.Speed = GPIO_SPEED_FREQ_LOW;
  HAL_GPIO_Init(GPIOD, &GPIO_InitStruct);

  /*Configure GPIO pins : PA10_Pin PA9_Pin PA0_Pin DAC1_OUT1_Pin
                           PA1_Pin */
  GPIO_InitStruct.Pin = PA10_Pin|PA9_Pin|PA0_Pin|DAC1_OUT1_Pin
                          |PA1_Pin;
  GPIO_InitStruct.Mode = GPIO_MODE_ANALOG;
  GPIO_InitStruct.Pull = GPIO_NOPULL;
  HAL_GPIO_Init(GPIOA, &GPIO_InitStruct);

  /*Configure GPIO pins : DFSDM1_DATIN5_Pin DFSDM1_D7_Pin */
  GPIO_InitStruct.Pin = DFSDM1_DATIN5_Pin|DFSDM1_D7_Pin;
  GPIO_InitStruct.Mode = GPIO_MODE_AF_PP;
  GPIO_InitStruct.Pull = GPIO_PULLDOWN;
  GPIO_InitStruct.Speed = GPIO_SPEED_FREQ_VERY_HIGH;
  GPIO_InitStruct.Alternate = GPIO_AF6_DFSDM1;
  HAL_GPIO_Init(GPIOB, &GPIO_InitStruct);

  /*Configure GPIO pins : PG12_Pin PG10_Pin PG9_Pin */
  GPIO_InitStruct.Pin = PG12_Pin|PG10_Pin|PG9_Pin;
  GPIO_InitStruct.Mode = GPIO_MODE_ANALOG;
  GPIO_InitStruct.Pull = GPIO_NOPULL;
  HAL_GPIO_Init(GPIOG, &GPIO_InitStruct);

  /*Configure GPIO pin : BLE_RST_Pin */
  GPIO_InitStruct.Pin = BLE_RST_Pin;
  GPIO_InitStruct.Mode = GPIO_MODE_OUTPUT_PP;
  GPIO_InitStruct.Pull = GPIO_NOPULL;
  GPIO_InitStruct.Speed = GPIO_SPEED_FREQ_LOW;
  HAL_GPIO_Init(BLE_RST_GPIO_Port, &GPIO_InitStruct);

  /*Configure GPIO pins : WIFI_RST_Pin SPI2_MISO_p2_Pin */
  GPIO_InitStruct.Pin = WIFI_RST_Pin|SPI2_MISO_p2_Pin;
  GPIO_InitStruct.Mode = GPIO_MODE_OUTPUT_PP;
  GPIO_InitStruct.Pull = GPIO_NOPULL;
  GPIO_InitStruct.Speed = GPIO_SPEED_FREQ_LOW;
  HAL_GPIO_Init(GPIOC, &GPIO_InitStruct);

  /*Configure GPIO pins : I2C2_SMBA_Pin I2C2_SDA_Pin I2C2_SDAF0_Pin */
  GPIO_InitStruct.Pin = I2C2_SMBA_Pin|I2C2_SDA_Pin|I2C2_SDAF0_Pin;
  GPIO_InitStruct.Mode = GPIO_MODE_AF_OD;
  GPIO_InitStruct.Pull = GPIO_NOPULL;
  GPIO_InitStruct.Speed = GPIO_SPEED_FREQ_VERY_HIGH;
  GPIO_InitStruct.Alternate = GPIO_AF4_I2C2;
  HAL_GPIO_Init(GPIOF, &GPIO_InitStruct);

  /*Configure GPIO pins : CS_WIFI_Pin C_EN_Pin CS_ADWB_Pin STSAFE_RESET_Pin
                           WIFI_BOOT0_Pin CS_DHC_Pin SEL3_4_Pin */
  GPIO_InitStruct.Pin = CS_WIFI_Pin|C_EN_Pin|CS_ADWB_Pin|STSAFE_RESET_Pin
                          |WIFI_BOOT0_Pin|CS_DHC_Pin|SEL3_4_Pin;
  GPIO_InitStruct.Mode = GPIO_MODE_OUTPUT_PP;
  GPIO_InitStruct.Pull = GPIO_NOPULL;
  GPIO_InitStruct.Speed = GPIO_SPEED_FREQ_LOW;
  HAL_GPIO_Init(GPIOF, &GPIO_InitStruct);

  /*Configure GPIO pins : I2C3_SDA_Pin I2C3_SCL_Pin */
  GPIO_InitStruct.Pin = I2C3_SDA_Pin|I2C3_SCL_Pin;
  GPIO_InitStruct.Mode = GPIO_MODE_AF_OD;
  GPIO_InitStruct.Pull = GPIO_NOPULL;
  GPIO_InitStruct.Speed = GPIO_SPEED_FREQ_VERY_HIGH;
  GPIO_InitStruct.Alternate = GPIO_AF4_I2C3;
  HAL_GPIO_Init(GPIOG, &GPIO_InitStruct);

  /*Configure GPIO pin : SW_SEL_Pin */
  GPIO_InitStruct.Pin = SW_SEL_Pin;
  GPIO_InitStruct.Mode = GPIO_MODE_AF_PP;
  GPIO_InitStruct.Pull = GPIO_NOPULL;
  GPIO_InitStruct.Speed = GPIO_SPEED_FREQ_HIGH;
  GPIO_InitStruct.Alternate = GPIO_AF2_TIM5;
  HAL_GPIO_Init(SW_SEL_GPIO_Port, &GPIO_InitStruct);

  /*Configure GPIO pins : INT2_DHC_Pin PGOOD_Pin INT_M_Pin */
  GPIO_InitStruct.Pin = INT2_DHC_Pin|PGOOD_Pin|INT_M_Pin;
  GPIO_InitStruct.Mode = GPIO_MODE_IT_RISING;
  GPIO_InitStruct.Pull = GPIO_NOPULL;
  HAL_GPIO_Init(GPIOF, &GPIO_InitStruct);

  /*Configure GPIO pins : SPI1_MISO_Pin SPI1_MOSI_Pin SPI1_CLK_Pin */
  GPIO_InitStruct.Pin = SPI1_MISO_Pin|SPI1_MOSI_Pin|SPI1_CLK_Pin;
  GPIO_InitStruct.Mode = GPIO_MODE_AF_PP;
  GPIO_InitStruct.Pull = GPIO_NOPULL;
  GPIO_InitStruct.Speed = GPIO_SPEED_FREQ_VERY_HIGH;
  GPIO_InitStruct.Alternate = GPIO_AF5_SPI1;
  HAL_GPIO_Init(GPIOG, &GPIO_InitStruct);

  /*Configure GPIO pins : BLE_SPI_CS_Pin SEL1_2_Pin */
  GPIO_InitStruct.Pin = BLE_SPI_CS_Pin|SEL1_2_Pin;
  GPIO_InitStruct.Mode = GPIO_MODE_OUTPUT_PP;
  GPIO_InitStruct.Pull = GPIO_NOPULL;
  GPIO_InitStruct.Speed = GPIO_SPEED_FREQ_LOW;
  HAL_GPIO_Init(GPIOG, &GPIO_InitStruct);

  /*Configure GPIO pins : INT_HTS_Pin BLE_INT_Pin */
  GPIO_InitStruct.Pin = INT_HTS_Pin|BLE_INT_Pin;
  GPIO_InitStruct.Mode = GPIO_MODE_IT_RISING;
  GPIO_InitStruct.Pull = GPIO_NOPULL;
  HAL_GPIO_Init(GPIOG, &GPIO_InitStruct);

  /*Configure GPIO pins : I2C4_SCL_Pin I2C4_SDA_Pin */
  GPIO_InitStruct.Pin = I2C4_SCL_Pin|I2C4_SDA_Pin;
  GPIO_InitStruct.Mode = GPIO_MODE_AF_OD;
  GPIO_InitStruct.Pull = GPIO_NOPULL;
  GPIO_InitStruct.Speed = GPIO_SPEED_FREQ_VERY_HIGH;
  GPIO_InitStruct.Alternate = GPIO_AF4_I2C4;
  HAL_GPIO_Init(GPIOD, &GPIO_InitStruct);

  /*Configure GPIO pins : ADC1_IN1_Pin ADC1_IN2_Pin uC_ADC_BATT_Pin */
  GPIO_InitStruct.Pin = ADC1_IN1_Pin|ADC1_IN2_Pin|uC_ADC_BATT_Pin;
  GPIO_InitStruct.Mode = GPIO_MODE_ANALOG_ADC_CONTROL;
  GPIO_InitStruct.Pull = GPIO_NOPULL;
  HAL_GPIO_Init(GPIOC, &GPIO_InitStruct);

  /*Configure GPIO pins : INT2_ADWB_Pin SD_DETECT_Pin */
  GPIO_InitStruct.Pin = INT2_ADWB_Pin|SD_DETECT_Pin;
  GPIO_InitStruct.Mode = GPIO_MODE_INPUT;
  GPIO_InitStruct.Pull = GPIO_NOPULL;
  HAL_GPIO_Init(GPIOB, &GPIO_InitStruct);

  /*Configure GPIO pin : CHRG_Pin */
  GPIO_InitStruct.Pin = CHRG_Pin;
  GPIO_InitStruct.Mode = GPIO_MODE_INPUT;
  GPIO_InitStruct.Pull = GPIO_NOPULL;
  HAL_GPIO_Init(CHRG_GPIO_Port, &GPIO_InitStruct);

  /*Configure GPIO pin : BUTTON_PWR_Pin */
  GPIO_InitStruct.Pin = BUTTON_PWR_Pin;
  GPIO_InitStruct.Mode = GPIO_MODE_IT_RISING;
  GPIO_InitStruct.Pull = GPIO_NOPULL;
  HAL_GPIO_Init(BUTTON_PWR_GPIO_Port, &GPIO_InitStruct);

  /*Configure GPIO pins : USART3_RX_Pin USART3_TX_Pin */
  GPIO_InitStruct.Pin = USART3_RX_Pin|USART3_TX_Pin;
  GPIO_InitStruct.Mode = GPIO_MODE_AF_PP;
  GPIO_InitStruct.Pull = GPIO_NOPULL;
  GPIO_InitStruct.Speed = GPIO_SPEED_FREQ_VERY_HIGH;
  GPIO_InitStruct.Alternate = GPIO_AF7_USART3;
  HAL_GPIO_Init(GPIOD, &GPIO_InitStruct);

  /*Configure GPIO pin : SPI2_MOSI_Pin */
  GPIO_InitStruct.Pin = SPI2_MOSI_Pin;
  GPIO_InitStruct.Mode = GPIO_MODE_AF_PP;
  GPIO_InitStruct.Pull = GPIO_NOPULL;
  GPIO_InitStruct.Speed = GPIO_SPEED_FREQ_VERY_HIGH;
  GPIO_InitStruct.Alternate = GPIO_AF5_SPI2;
  HAL_GPIO_Init(SPI2_MOSI_GPIO_Port, &GPIO_InitStruct);

  /*Configure GPIO pins : USART3_RTS_Pin USART3_CTS_Pin */
  GPIO_InitStruct.Pin = USART3_RTS_Pin|USART3_CTS_Pin;
  GPIO_InitStruct.Mode = GPIO_MODE_AF_PP;
  GPIO_InitStruct.Pull = GPIO_NOPULL;
  GPIO_InitStruct.Speed = GPIO_SPEED_FREQ_VERY_HIGH;
  GPIO_InitStruct.Alternate = GPIO_AF7_USART3;
  HAL_GPIO_Init(GPIOB, &GPIO_InitStruct);

  /*Configure GPIO pin : DFSDM1_CKOUT_Pin */
  GPIO_InitStruct.Pin = DFSDM1_CKOUT_Pin;
  GPIO_InitStruct.Mode = GPIO_MODE_AF_PP;
  GPIO_InitStruct.Pull = GPIO_PULLDOWN;
  GPIO_InitStruct.Speed = GPIO_SPEED_FREQ_VERY_HIGH;
  GPIO_InitStruct.Alternate = GPIO_AF6_DFSDM1;
  HAL_GPIO_Init(DFSDM1_CKOUT_GPIO_Port, &GPIO_InitStruct);

  /*Configure GPIO pins : SPI2_MOSI_p2_Pin PB11_Pin */
  GPIO_InitStruct.Pin = SPI2_MOSI_p2_Pin|PB11_Pin;
  GPIO_InitStruct.Mode = GPIO_MODE_OUTPUT_PP;
  GPIO_InitStruct.Pull = GPIO_NOPULL;
  GPIO_InitStruct.Speed = GPIO_SPEED_FREQ_LOW;
  HAL_GPIO_Init(GPIOB, &GPIO_InitStruct);

  /*Configure GPIO pin : INT2_DH_Pin */
  GPIO_InitStruct.Pin = INT2_DH_Pin;
  GPIO_InitStruct.Mode = GPIO_MODE_IT_RISING;
  GPIO_InitStruct.Pull = GPIO_NOPULL;
  HAL_GPIO_Init(INT2_DH_GPIO_Port, &GPIO_InitStruct);

  /*Configure GPIO pin : EX_ADC_Pin */
  GPIO_InitStruct.Pin = EX_ADC_Pin;
  GPIO_InitStruct.Mode = GPIO_MODE_ANALOG_ADC_CONTROL;
  GPIO_InitStruct.Pull = GPIO_NOPULL;
  HAL_GPIO_Init(EX_ADC_GPIO_Port, &GPIO_InitStruct);

  /*Configure GPIO pin : PE12_Pin */
  GPIO_InitStruct.Pin = PE12_Pin;
  GPIO_InitStruct.Mode = GPIO_MODE_ANALOG;
  GPIO_InitStruct.Pull = GPIO_NOPULL;
  HAL_GPIO_Init(PE12_GPIO_Port, &GPIO_InitStruct);

}

/* USER CODE BEGIN 4 */

int ai_init(void) {
  ai_error error;

  /* Create and initialize the c-model */
  const ai_handle acts[] = { activations };
  error = ai_network_create_and_init(&network, acts, NULL);
  if (error.type != AI_ERROR_NONE) {
	  Error_Handler();
  }

  ai_input = ai_network_inputs_get(network, NULL);
  ai_output = ai_network_outputs_get(network, NULL);

  return 0;
}

int ai_run(const void *in_data, void *out_data) {

	ai_i32 n_batch;
	ai_error error;

	ai_input[0].data = AI_HANDLE_PTR(in_data);
	ai_output[0].data = AI_HANDLE_PTR(out_data);
/*run*/
	n_batch = ai_network_run(network, &ai_input[0], &ai_output[0]);
	if (n_batch != 1) {
		error = ai_network_get_error(network);
		Error_Handler();
	};

	return 0;
}

void set_input_data(IN_TYPE* in_data, int k, IN_TYPE* ingresso)
{
	    //vado a riempire l'effettivo array di input da passare alla rete
		for (int i = 0; i < AI_NETWORK_IN_1_SIZE; i++)
			in_data[i] = ingresso[i+k];
		//in_data è lungo AI_MODEL_IN_1_SIZE e dipende da k
		// ovvero da dove sono posizionato del blocco corrente

}

int process_output(IN_TYPE* out_data) {
    // Applica la softmax
    ai_float exp0 = exp(out_data[0]);
    ai_float exp1 = exp(out_data[1]);
    ai_float sum_exp = exp0 + exp1;

    ai_float softmax1 = exp1 / sum_exp;  // Probabilità per la classe 1

    // Determina il risultato
    int risultato = (softmax1 > 0.5f) ? 1 : 0;  // 0.5 è la soglia tipica

    // Scrivi il risultato nel file di output
    return risultato;
}

int network_run(IN_TYPE* in_data, IN_TYPE* out_data, IN_TYPE* ingresso)
{
    uint16_t time;

    // Avvia il timer per misurare il tempo di inferenza
    HAL_TIM_Base_Start(&htim1);

    time = __HAL_TIM_GET_COUNTER(&htim1);

    // Esegui la rete neurale
    ai_run(in_data, out_data);

    // Calcola il tempo di inferenza
    time = __HAL_TIM_GET_COUNTER(&htim1) - time;

    // Scrivi il report del tempo di inferenza
    sprintf(buffer, "tempo inferenza : %uus\n", time);
    int lunghezza_stringa = strlen(buffer);
    write_report(buffer, lunghezza_stringa);

    // Determina l'etichetta (0 o 1) in base al risultato
    int risultato = process_output(out_data);

    //aggiungo il risultato dell'inferenza al file di output
    write_to_sd(risultato);

    return 0;
}

FRESULT read_from_sd(long int size_blocco, ai_float* valori, int blocco)
{
    FRESULT res;

    // Apro il file in modalità lettura
    res = f_open(&file_in, F_INPUT, FA_READ);
    if (res != FR_OK) {
        Error_Handler();  // Gestione errore apertura file
        return res;
    }

    // Calcolo l'offset per posizionarmi nel file di ingresso secondo il blocco in cui mi trovo
    // size_blocco definisce la dimensione del blocco
    int offset = blocco * size_blocco * sizeof(ai_float);

    // Posiziono il puntatore del file all'offset calcolato
    res = f_lseek(&file_in, offset);
    if (res != FR_OK) {
        Error_Handler();  // Gestione errore
        return res;
    }

    // Leggiamo i 'chunk_size' valori dal file
    UINT br;
    res = f_read(&file_in, valori, sizeof(ai_float) * size_blocco, &br);
    if (res != FR_OK || br != (sizeof(ai_float) * size_blocco)) {
        Error_Handler();  // Gestione errore durante la lettura
        return res;
    }

    // Chiudiamo il file
    res = f_close(&file_in);
    if (res != FR_OK) {
        Error_Handler();  // Gestione errore durante la chiusura del file
        return res;
    }

    return res;  // 	Restituisce FR_OK se non ci sono stati errori
}

void write_to_sd (int risultato)
{
	FRESULT res;
    UINT bw;
	res = f_open(&file_out, F_OUT, FA_WRITE | FA_OPEN_APPEND);
	if(res != FR_OK)
	{
		 Error_Handler();
	}
	res = f_write(&file_out, &risultato, sizeof(risultato), &bw);
	if((res != FR_OK)||(bw == 0))
	{
		Error_Handler();
	}
	res = f_close(&file_out);
	if(res != FR_OK)
	{
		 Error_Handler();
	}

}

void write_report(char* string, int string_len)
{
	FRESULT res;
	UINT bw;
	res = f_open(&f_report, F_REPORT, FA_WRITE | FA_OPEN_APPEND);
	if(res != FR_OK)
	{
		Error_Handler();
	}
	res = f_write(&f_report, string, string_len, &bw);
	if((res != FR_OK)||(bw != string_len))
	{
		Error_Handler();
	}
	res = f_close(&f_report);
	if((res != FR_OK)||(bw == 0))
	{
		Error_Handler();
	}
}

/* USER CODE END 4 */

void Error_Handler(void)
{
  __disable_irq();
  while (1)
  {
  }
}
